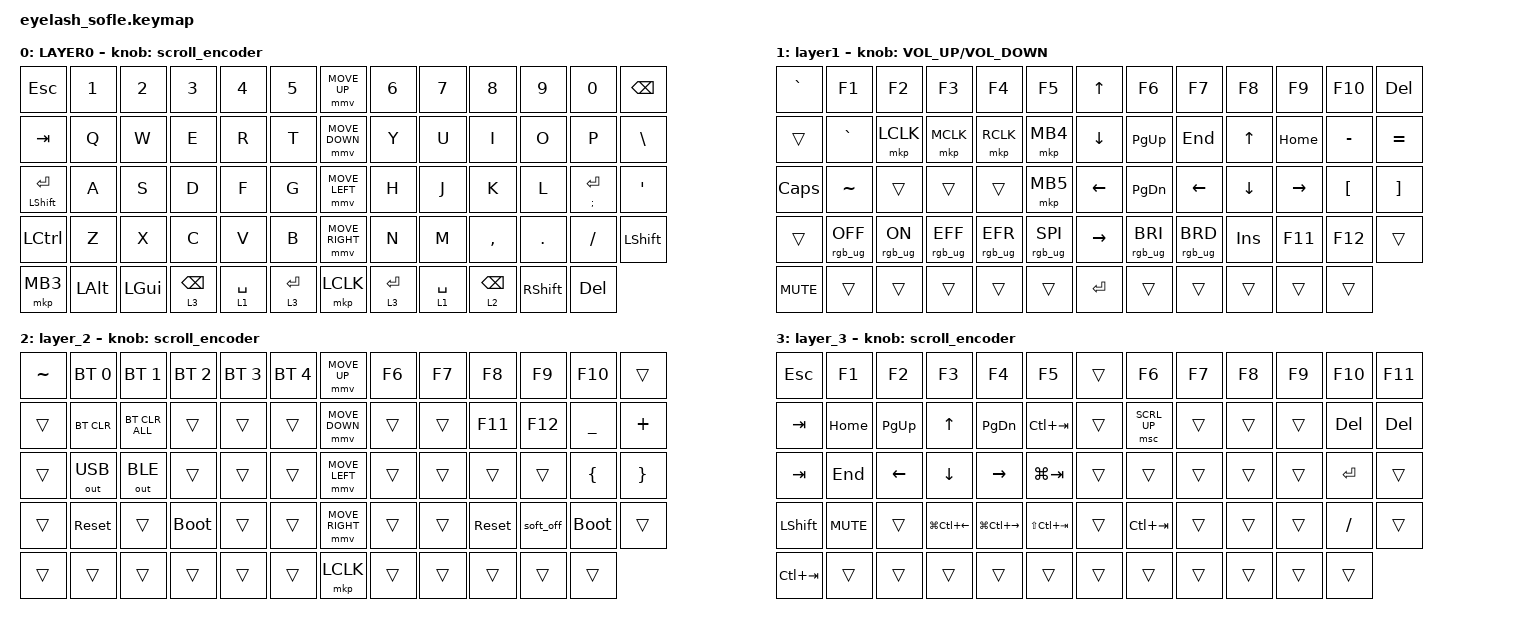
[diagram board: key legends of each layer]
#define ZMK_POINTING_DEFAULT_MOVE_VAL 1200  // 600
#define ZMK_POINTING_DEFAULT_SCRL_VAL 25   // 10

#include <input/processors.dtsi>
#include <zephyr/dt-bindings/input/input-event-codes.h>
#include <behaviors.dtsi>
#include <dt-bindings/zmk/bt.h>
#include <dt-bindings/zmk/keys.h>
#include <dt-bindings/zmk/outputs.h>
#include <dt-bindings/zmk/pointing.h>
#include <dt-bindings/zmk/rgb.h>

&mmv_input_listener { input-processors = <&zip_xy_scaler 2 1>; };

&msc_input_listener { input-processors = <&zip_scroll_scaler 2 1>; };

&msc {
    acceleration-exponent = <1>;      // 0
    time-to-max-speed-ms = <100>;       // 300
    delay-ms = <0>;                   // 0
};

&mmv {
    time-to-max-speed-ms = <500>;
    acceleration-exponent = <1>;
    trigger-period-ms = <16>;
};

/ {
    scroll_encoder: scroll_encoder {
        compatible = "zmk,behavior-sensor-rotate";
        #sensor-binding-cells = <0>;
        bindings = <&msc SCRL_DOWN>, <&msc SCRL_UP>;

        tap-ms = <100>;
    };

    behaviors {
    };

    combos {
        compatible = "zmk,combos";

        backspacek {
            bindings = <&kp BACKSPACE>;
            key-positions = <33 20>;
            layers = <0>;
        };
    };

    keymap {
        compatible = "zmk,keymap";

        layer0 {
            bindings = <
&kp ESC             &kp N1        &kp N2        &kp N3           &kp N4       &kp N5         &mmv MOVE_UP     &kp N6       &kp N7       &kp N8           &kp N9           &kp N0        &kp BACKSPACE
&kp TAB             &kp Q         &kp W         &kp E            &kp R        &kp T          &mmv MOVE_DOWN   &kp Y        &kp U        &kp I            &kp O            &kp P         &kp BSLH
&mt LEFT_SHIFT RET  &kp A         &kp S         &kp D            &kp F        &kp G          &mmv MOVE_LEFT   &kp H        &kp J        &kp K            &kp L            &mt SEMI RET  &kp APOS
&kp LEFT_CONTROL    &kp Z         &kp X         &kp C            &kp V        &kp B          &mmv MOVE_RIGHT  &kp N        &kp M        &kp COMMA        &kp DOT          &kp FSLH      &kp LEFT_SHIFT
&mkp MB3            &kp LEFT_ALT  &kp LEFT_GUI  &lt 3 BACKSPACE  &lt 1 SPACE  &lt 3 ENTER    &mkp LCLK        &lt 3 ENTER  &lt 1 SPACE  &lt 2 BACKSPACE  &kp RIGHT_SHIFT  &kp DELETE
            >;

            sensor-bindings = <&scroll_encoder>;
            display-name = "LAYER0";
        };

        layer_1 {
            bindings = <
&kp GRAVE   &kp F1           &kp F2          &kp F3           &kp F4           &kp F5             &kp UP_ARROW    &kp F6           &kp F7           &kp F8      &kp F9     &kp F10           &kp DELETE
&trans      &kp GRAVE        &mkp LCLK       &mkp MCLK        &mkp RCLK        &mkp MB4           &kp DOWN        &kp PG_UP        &kp END          &kp UP      &kp HOME   &kp MINUS         &kp EQUAL
&kp CAPS    &kp TILDE        &trans          &trans           &trans           &mkp MB5           &kp LEFT_ARROW  &kp PG_DN        &kp LEFT         &kp DOWN    &kp RIGHT  &kp LEFT_BRACKET  &kp RIGHT_BRACKET
&trans      &rgb_ug RGB_OFF  &rgb_ug RGB_ON  &rgb_ug RGB_EFF  &rgb_ug RGB_EFR  &rgb_ug RGB_SPI    &kp RIGHT       &rgb_ug RGB_BRI  &rgb_ug RGB_BRD  &kp INSERT  &kp F11    &kp F12           &trans
&kp C_MUTE  &trans           &trans          &trans           &trans           &trans             &kp RET         &trans           &trans           &trans      &trans     &trans
            >;

            display-name = "layer1";
            sensor-bindings = <&inc_dec_kp C_VOLUME_UP C_VOLUME_DOWN>;
        };

        layer_2 {
            bindings = <
&kp TILDE  &bt BT_SEL 0  &bt BT_SEL 1    &bt BT_SEL 2  &bt BT_SEL 3  &bt BT_SEL 4    &mmv MOVE_UP     &kp F6  &kp F7  &kp F8      &kp F9     &kp F10      &trans
&trans     &bt BT_CLR    &bt BT_CLR_ALL  &trans        &trans        &trans          &mmv MOVE_DOWN   &trans  &trans  &kp F11     &kp F12    &kp UNDER    &kp PLUS
&trans     &out OUT_USB  &out OUT_BLE    &trans        &trans        &trans          &mmv MOVE_LEFT   &trans  &trans  &trans      &trans     &kp LBRC     &kp RBRC
&trans     &sys_reset    &trans          &bootloader   &trans        &trans          &mmv MOVE_RIGHT  &trans  &trans  &sys_reset  &soft_off  &bootloader  &trans
&trans     &trans        &trans          &trans        &trans        &trans          &mkp LCLK        &trans  &trans  &trans      &trans     &trans
            >;

            sensor-bindings = <&scroll_encoder>;
        };

        layer_3 {
            bindings = <
&kp ESC         &kp F1      &kp F2     &kp F3            &kp F4             &kp F5             &trans  &kp F6        &kp F7  &kp F8  &kp F9  &kp F10   &kp F11
&kp TAB         &kp HOME    &kp PG_UP  &kp UP            &kp PG_DN          &kp LC(TAB)        &trans  &msc SCRL_UP  &trans  &trans  &trans  &kp DEL   &kp DEL
&kp TAB         &kp END     &kp LEFT   &kp DOWN          &kp RIGHT          &kp LG(TAB)        &trans  &trans        &trans  &trans  &trans  &kp RET   &trans
&kp LEFT_SHIFT  &kp K_MUTE  &trans     &kp LG(LC(LEFT))  &kp LG(LC(RIGHT))  &kp LS(LC(TAB))    &trans  &kp LC(TAB)   &trans  &trans  &trans  &kp FSLH  &trans
&kp LC(TAB)     &trans      &trans     &trans            &trans             &trans             &trans  &trans        &trans  &trans  &trans  &trans
            >;

            sensor-bindings = <&scroll_encoder>;
        };
    };
};
